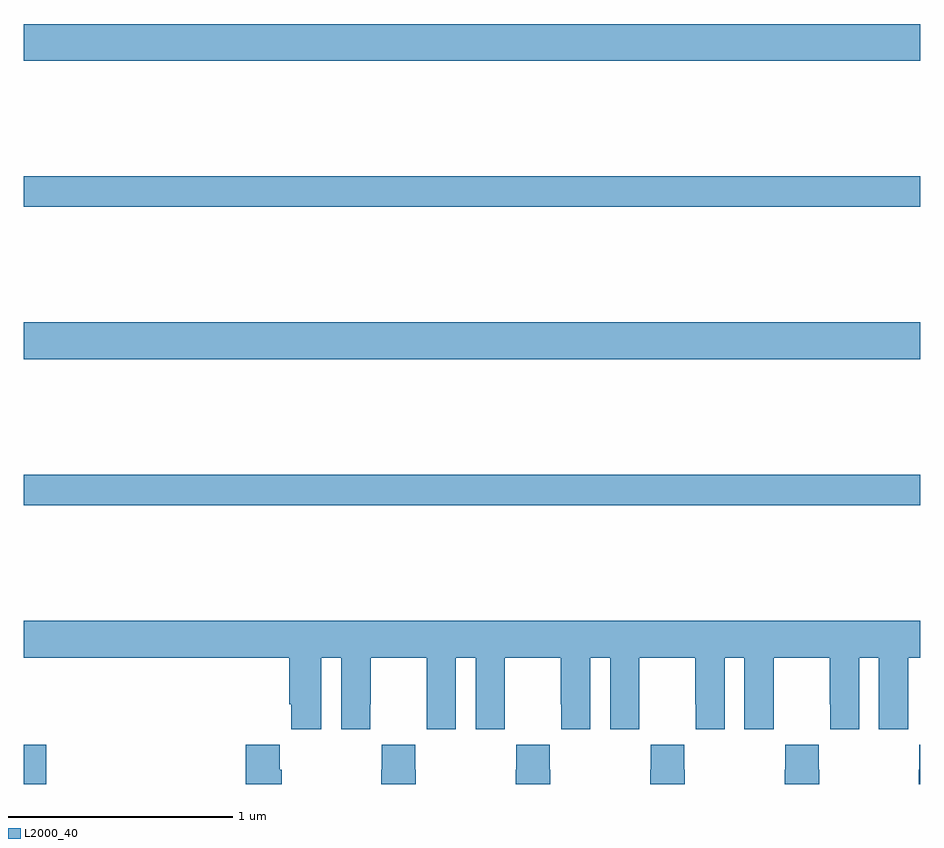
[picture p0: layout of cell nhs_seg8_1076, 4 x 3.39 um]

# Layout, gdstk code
import gdstk
lib = gdstk.Library(unit=1e-6, precision=1e-09)
def R(c, l, rs):  # rectangles x0, y0, x1, y1
    for r in rs: c.add(gdstk.rectangle(r[:2], r[2:], *l))
def P(c, l, *ps):  # polygons
    for p in ps: c.add(gdstk.Polygon(p, *l))
L2000_40 = (2000, 40)

nhs_seg8_1076 = lib.new_cell('nhs_seg8_1076')
R(nhs_seg8_1076, L2000_40, [(179,1151.9,179.099,1152.076), (179,1153.144,183,1153.28), (179,1153.796,183,1153.96), (179,1154.476,183,1154.612), (179,1155.128,183,1155.292)])
P(nhs_seg8_1076, L2000_40, [(180.328,1152.464),(180.416,1152.464),(180.416,1152.144),(180.546,1152.144),(180.546,1152.256),(180.547,1152.256),(180.547,1152.464),(180.797,1152.464),(180.797,1152.256),(180.798,1152.256),(180.798,1152.144),(180.928,1152.144),(180.928,1152.464),(181.016,1152.464),(181.016,1152.144),(181.146,1152.144),(181.146,1152.256),(181.147,1152.256),(181.147,1152.464),(181.397,1152.464),(181.397,1152.256),(181.398,1152.256),(181.398,1152.144),(181.528,1152.144),(181.528,1152.464),(181.616,1152.464),(181.616,1152.144),(181.746,1152.144),(181.746,1152.256),(181.747,1152.256),(181.747,1152.464),(181.997,1152.464),(181.997,1152.256),(181.998,1152.256),(181.998,1152.144),(182.128,1152.144),(182.128,1152.464),(182.216,1152.464),(182.216,1152.144),(182.346,1152.144),(182.346,1152.256),(182.347,1152.256),(182.347,1152.464),(182.597,1152.464),(182.597,1152.256),(182.598,1152.256),(182.598,1152.144),(182.728,1152.144),(182.728,1152.464),(182.816,1152.464),(182.816,1152.144),(182.946,1152.144),(182.946,1152.256),(182.947,1152.256),(182.947,1152.464),(183,1152.464),(183,1152.628),(179,1152.628),(179,1152.464),(180.185,1152.464),(180.185,1152.256),(180.194,1152.256),(180.194,1152.144),(180.328,1152.144)],
  [(180.15,1151.963),(180.143,1151.963),(180.143,1152.076),(179.99,1152.076),(179.99,1151.9),(180.15,1151.9)],
  [(180.75,1151.963),(180.747,1151.963),(180.747,1152.076),(180.597,1152.076),(180.597,1151.963),(180.595,1151.963),(180.595,1151.9),(180.75,1151.9)],
  [(181.35,1151.963),(181.347,1151.963),(181.347,1152.076),(181.197,1152.076),(181.197,1151.963),(181.195,1151.963),(181.195,1151.9),(181.35,1151.9)],
  [(181.95,1151.963),(181.947,1151.963),(181.947,1152.076),(181.797,1152.076),(181.797,1151.963),(181.795,1151.963),(181.795,1151.9),(181.95,1151.9)],
  [(182.55,1151.963),(182.547,1151.963),(182.547,1152.076),(182.397,1152.076),(182.397,1151.963),(182.395,1151.963),(182.395,1151.9),(182.55,1151.9)],
  [(183,1152.076),(182.997,1152.076),(182.997,1151.963),(182.995,1151.963),(182.995,1151.9),(183,1151.9)])

lib.write_gds('nhs_seg8_1076.gds')
